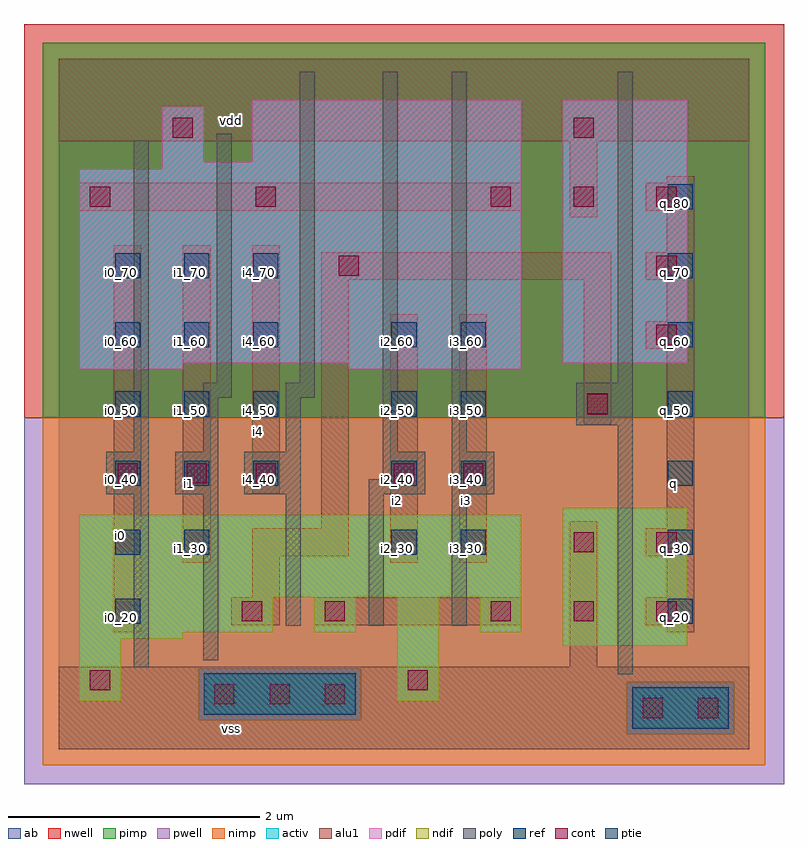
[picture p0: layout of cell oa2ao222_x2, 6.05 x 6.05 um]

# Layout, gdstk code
import gdstk
lib = gdstk.Library(unit=1e-6, precision=2.5e-09)
def R(c, l, rs):  # rectangles x0, y0, x1, y1
    for r in rs: c.add(gdstk.rectangle(r[:2], r[2:], *l))
def A(c, l, x, y, w, h, nx, ny, dx, dy):  # array of equal rectangles
    R(c, l, [(x+i*dx, y+j*dy, x+i*dx+w, y+j*dy+h) for i in range(nx) for j in range(ny)])
ndif = (3, 0)
pdif = (4, 0)
ptie = (6, 0)
ref = (24, 0)
cont = (25, 0)
pwell = (41, 0)
nwell = (42, 0)
activ = (43, 0)
pimp = (44, 0)
nimp = (45, 0)
poly = (46, 0)
alu1 = (49, 0)
ab = (63, 0)

oa2ao222_x2 = lib.new_cell('oa2ao222_x2')
R(oa2ao222_x2, ndif, [(0.165,0.385,0.495,0.88), (2.695,0.385,3.025,1.21), (4.015,0.825,5.005,1.925), (0.165,0.88,0.99,0.935), (0.165,0.935,1.705,1.21), (2.035,0.935,2.365,1.21), (3.355,0.935,3.685,1.21), (0.165,1.21,3.685,1.87)])
R(oa2ao222_x2, pdif, [(0.165,3.025,0.99,3.08), (2.31,3.025,3.685,3.08), (0.165,3.08,3.685,4.62), (4.015,3.08,5.005,5.17), (0.825,4.62,3.685,4.675), (0.825,4.675,1.155,5.115), (1.54,4.675,3.685,5.17)])
R(oa2ao222_x2, ptie, [(4.565,0.165,5.335,0.495), (1.155,0.275,2.365,0.605)])
A(oa2ao222_x2, ref, 4.85, 1, 0.2, 0.2, 1, 7, 0, 0.55)
A(oa2ao222_x2, ref, 2.65, 1.55, 0.2, 0.2, 1, 4, 0, 0.55)
A(oa2ao222_x2, ref, 3.2, 1.55, 0.2, 0.2, 1, 4, 0, 0.55)
A(oa2ao222_x2, ref, 0.45, 2.1, 0.2, 0.2, 3, 4, 0.55, 0.55)
R(oa2ao222_x2, ref, [(0.45,1,0.65,1.2), (0.45,1.55,0.65,1.75), (1,1.55,1.2,1.75)])
A(oa2ao222_x2, cont, 1.24, 0.36, 0.16, 0.16, 3, 1, 0.44, 0)
A(oa2ao222_x2, cont, 3.44, 1.02, 0.16, 0.16, 3, 2, 0.66, 3.3)
A(oa2ao222_x2, cont, 0.47, 2.12, 0.16, 0.16, 3, 1, 0.55, 0)
R(oa2ao222_x2, cont, [(4.65,0.25,4.81,0.41), (5.09,0.25,5.25,0.41), (0.25,0.47,0.41,0.63), (2.78,0.47,2.94,0.63), (1.46,1.02,1.62,1.18), (2.12,1.02,2.28,1.18), (4.1,1.57,4.26,1.73), (4.76,1.57,4.92,1.73), (2.67,2.12,2.83,2.28), (3.22,2.12,3.38,2.28), (4.21,2.67,4.37,2.83), (4.76,3.22,4.92,3.38), (2.23,3.77,2.39,3.93), (4.76,3.77,4.92,3.93), (0.25,4.32,0.41,4.48), (1.57,4.32,1.73,4.48), (0.91,4.87,1.07,5.03), (4.1,4.87,4.26,5.03)])
R(oa2ao222_x2, pwell, [(-0.275,-0.275,5.775,2.64)])
R(oa2ao222_x2, nwell, [(-0.275,2.64,5.775,5.775)])
R(oa2ao222_x2, activ, [(4.565,0.165,5.335,0.495), (1.155,0.275,2.365,0.605), (0.165,0.385,0.495,0.88), (2.695,0.385,3.025,1.21), (4.015,0.825,5.005,1.925), (0.165,0.88,0.99,0.935), (0.165,0.935,1.705,1.21), (2.035,0.935,2.365,1.21), (3.355,0.935,3.685,1.21), (0.165,1.21,3.685,1.87), (0.165,3.025,0.99,3.08), (2.31,3.025,3.685,3.08), (0.165,3.08,3.685,4.62), (4.015,3.08,5.005,5.17), (0.825,4.62,3.685,4.675), (0.825,4.675,1.155,5.115), (1.54,4.675,3.685,5.17)])
R(oa2ao222_x2, pimp, [(4.525,0.125,5.375,0.535), (1.115,0.235,2.405,0.645), (-0.125,2.64,5.625,5.625)])
R(oa2ao222_x2, nimp, [(-0.125,-0.125,5.625,0.125), (-0.125,0.125,4.525,0.235), (5.375,0.125,5.625,0.535), (-0.125,0.235,1.115,0.645), (2.405,0.235,4.525,0.535), (2.405,0.535,5.625,0.645), (-0.125,0.645,5.625,2.64)])
A(oa2ao222_x2, poly, 1.81, 0.985, 0.12, 1.045, 3, 1, 0.66, 0)
R(oa2ao222_x2, poly, [(4.45,0.6,4.57,2.58), (0.6,0.655,0.72,2.03), (1.15,0.71,1.27,2.03), (0.38,2.03,0.72,2.37), (0.93,2.03,1.27,2.37), (1.48,2.03,1.93,2.37), (2.47,2.03,2.92,2.15), (3.13,2.03,3.47,2.37), (2.58,2.15,2.92,2.37), (0.6,2.37,0.72,4.845), (1.15,2.37,1.27,2.8), (1.81,2.37,1.93,2.8), (2.58,2.37,2.7,5.395), (3.13,2.37,3.25,5.395), (4.12,2.58,4.57,2.92), (1.15,2.8,1.38,2.92), (1.81,2.8,2.04,2.92), (1.26,2.92,1.38,4.9), (1.92,2.92,2.04,5.395), (4.45,2.92,4.57,5.395)])
A(oa2ao222_x2, alu1, 4.675, 3.19, 0.385, 0.22, 1, 3, 0, 0.55)
R(oa2ao222_x2, alu1, [(0,0,5.5,0.66), (4.07,0.66,4.29,1.815), (0.44,0.935,0.66,4.015), (4.84,0.935,5.06,0.99), (1.375,0.99,1.76,1.21), (2.035,0.99,3.685,1.21), (4.675,0.99,5.06,1.21), (1.54,1.21,1.76,1.54), (4.84,1.21,5.06,1.54), (0.99,1.485,1.21,4.015), (2.64,1.485,2.86,3.465), (3.19,1.485,3.41,3.465), (1.54,1.54,2.31,1.76), (4.675,1.54,5.06,1.76), (2.09,1.76,2.31,3.74), (4.84,1.76,5.06,3.19), (1.54,2.035,1.76,4.015), (4.18,2.585,4.4,3.74), (4.84,3.41,5.06,3.74), (2.09,3.74,4.4,3.96), (4.84,3.96,5.06,4.29), (4.07,4.235,4.29,4.84), (0.165,4.29,3.685,4.51), (4.84,4.51,5.06,4.565), (0,4.84,5.5,5.5)])
R(oa2ao222_x2, ab, [(0,0,5.5,5.5)])
oa2ao222_x2.add(gdstk.Label('vss', (1.375,0.165), layer=49, texttype=0))
oa2ao222_x2.add(gdstk.Label('q', (4.895,2.1175), layer=49, texttype=0))
oa2ao222_x2.add(gdstk.Label('i3', (3.245,1.98), layer=49, texttype=0))
oa2ao222_x2.add(gdstk.Label('i2', (2.695,1.98), layer=49, texttype=0))
oa2ao222_x2.add(gdstk.Label('i4', (1.595,2.53), layer=49, texttype=0))
oa2ao222_x2.add(gdstk.Label('i1', (1.045,2.1175), layer=49, texttype=0))
oa2ao222_x2.add(gdstk.Label('i0', (0.495,1.705), layer=49, texttype=0))
oa2ao222_x2.add(gdstk.Label('vdd', (1.375,5.005), layer=49, texttype=0))
oa2ao222_x2.add(gdstk.Label('q_80', (4.9,4.35), layer=24, texttype=0))
oa2ao222_x2.add(gdstk.Label('q_40', (4.9,2.15), layer=24, texttype=0))
oa2ao222_x2.add(gdstk.Label('q_50', (4.9,2.7), layer=24, texttype=0))
oa2ao222_x2.add(gdstk.Label('q_60', (4.9,3.25), layer=24, texttype=0))
oa2ao222_x2.add(gdstk.Label('q_20', (4.9,1.05), layer=24, texttype=0))
oa2ao222_x2.add(gdstk.Label('q_70', (4.9,3.8), layer=24, texttype=0))
oa2ao222_x2.add(gdstk.Label('q_30', (4.9,1.6), layer=24, texttype=0))
oa2ao222_x2.add(gdstk.Label('i0_20', (0.5,1.05), layer=24, texttype=0))
oa2ao222_x2.add(gdstk.Label('i0_30', (0.5,1.6), layer=24, texttype=0))
oa2ao222_x2.add(gdstk.Label('i0_40', (0.5,2.15), layer=24, texttype=0))
oa2ao222_x2.add(gdstk.Label('i0_50', (0.5,2.7), layer=24, texttype=0))
oa2ao222_x2.add(gdstk.Label('i0_60', (0.5,3.25), layer=24, texttype=0))
oa2ao222_x2.add(gdstk.Label('i0_70', (0.5,3.8), layer=24, texttype=0))
oa2ao222_x2.add(gdstk.Label('i1_70', (1.05,3.8), layer=24, texttype=0))
oa2ao222_x2.add(gdstk.Label('i1_60', (1.05,3.25), layer=24, texttype=0))
oa2ao222_x2.add(gdstk.Label('i1_50', (1.05,2.7), layer=24, texttype=0))
oa2ao222_x2.add(gdstk.Label('i1_40', (1.05,2.15), layer=24, texttype=0))
oa2ao222_x2.add(gdstk.Label('i1_30', (1.05,1.6), layer=24, texttype=0))
oa2ao222_x2.add(gdstk.Label('i4_70', (1.6,3.8), layer=24, texttype=0))
oa2ao222_x2.add(gdstk.Label('i4_60', (1.6,3.25), layer=24, texttype=0))
oa2ao222_x2.add(gdstk.Label('i4_50', (1.6,2.7), layer=24, texttype=0))
oa2ao222_x2.add(gdstk.Label('i4_40', (1.6,2.15), layer=24, texttype=0))
oa2ao222_x2.add(gdstk.Label('i2_30', (2.7,1.6), layer=24, texttype=0))
oa2ao222_x2.add(gdstk.Label('i2_40', (2.7,2.15), layer=24, texttype=0))
oa2ao222_x2.add(gdstk.Label('i2_50', (2.7,2.7), layer=24, texttype=0))
oa2ao222_x2.add(gdstk.Label('i2_60', (2.7,3.25), layer=24, texttype=0))
oa2ao222_x2.add(gdstk.Label('i3_30', (3.25,1.6), layer=24, texttype=0))
oa2ao222_x2.add(gdstk.Label('i3_40', (3.25,2.15), layer=24, texttype=0))
oa2ao222_x2.add(gdstk.Label('i3_50', (3.25,2.7), layer=24, texttype=0))
oa2ao222_x2.add(gdstk.Label('i3_60', (3.25,3.25), layer=24, texttype=0))

lib.write_gds('oa2ao222_x2.gds')
